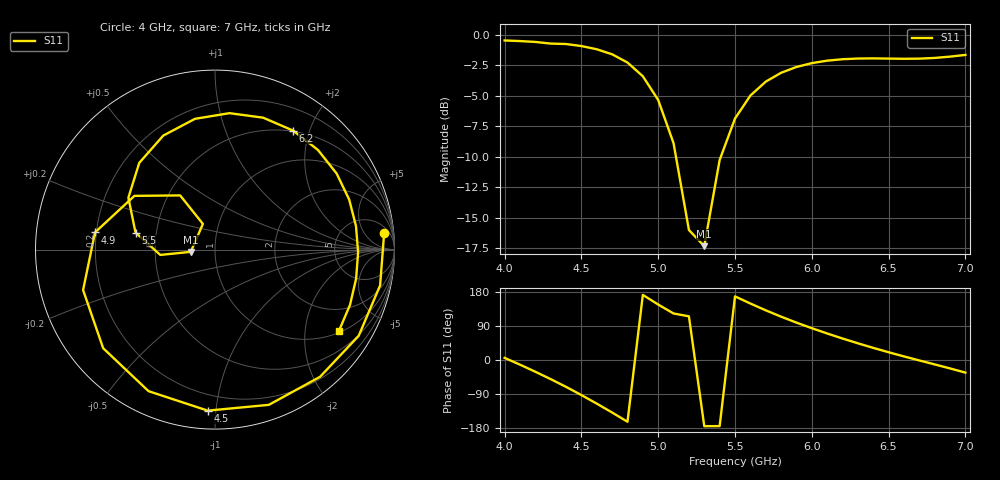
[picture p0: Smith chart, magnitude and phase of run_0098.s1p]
! Touchstone file exported from HFSS 2024.2.0
!  File:  C:/Users/wsak9/Desktop/Sim Fast/Widenad Patch/WP_AI_V1_sweep.aedt
!  Generated:  06:59:11 PM Oct 13, 2026
!  Design:  A1_model
!  Project:  WP_AI_V1_sweep
!  Setup:  Setup1
!  Solution:  Sweep
! Variables:
!  Air_gap = 2.4mm
!  Curve_Amp1 = 1.09
!  Curve_len1 = 1
!  Curve_pos = 10.73mm
!  Extra = 5.14mm
!  H_sub = 0.79mm
!  L_Patch = 17.46mm
!  L_Patch1 = 14.69mm
!  Sx = 3.29mm
!  Sy = 4.23mm
!  WS = 0.94mm
!  W_Patch = 22.16mm
!  W_Patch1 = 9.55mm
!Data is not renormalized
# GHz S MA
! Terminal data exported
! Port[1] = 1
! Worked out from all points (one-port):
!   31 points, 4 GHz to 7 GHz, reference per port
!   lowest |S11| = -17.3 dB at 5.3 GHz (marker M1), VSWR 1.31
!   |S11| at or under -10 dB: 5.115 GHz to 5.408 GHz (292.8 MHz wide, 5.57 % of centre)
!   S11 on the Smith chart (normalised r, x): 4 GHz: 9, +16; 4.5 GHz: 0.10, -0.95; 4.9 GHz: 0.19, +0.07; 5.5 GHz: 0.38, +0.09; 6.2 GHz: 0.49, +1.75; 7 GHz: 1.06, -3.01
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4  0.9468 5.6
4.1  0.9413 -12.2
4.2  0.9337 -31.0
4.3  0.9192 -50.5
4.4  0.9155 -70.9
4.5  0.8981 -92.6
4.6  0.8713 -115.1
4.7  0.8307 -138.6
4.8  0.7687 -163.0
4.9  0.6752 171.8
5  0.5396 146.3
5.1  0.3589 122.7
5.2  0.1581 115.2
5.3  0.1358 -174.7
5.4  0.3061 -174.4
5.5  0.453 167.9
5.6  0.5627 149.1
5.7  0.6416 131.1
5.8  0.6977 114.4
5.9  0.7371 98.7
6  0.7644 83.9
6.1  0.7824 70.0
6.2  0.7931 56.7
6.3  0.7982 44.1
6.5  0.7979 20.5
6.7  0.7974 -1.2
6.9  0.8127 -22.2
7  0.8259 -33.2
